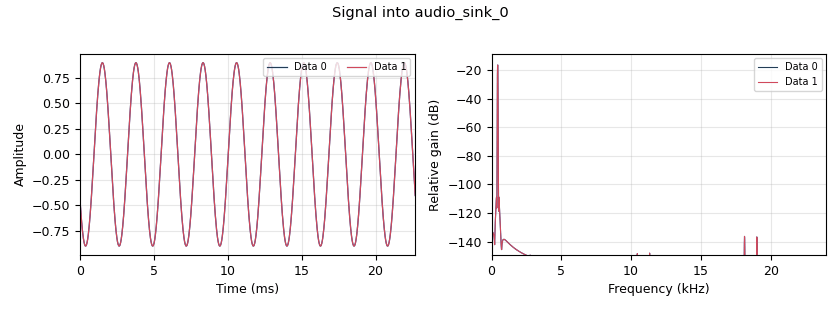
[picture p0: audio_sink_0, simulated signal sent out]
options:
  parameters:
    generate_options: no_gui
    id: audio_test_PC
    output_language: python
    title: audio_test_PC
  states: {}

blocks:
- name: samp_rate
  id: variable
  parameters:
    value: '48000'
  states: {}
- name: analog_sig_source_x_0
  id: analog_sig_source_x
  parameters:
    amp: '0.9'
    freq: '440'
    offset: '0'
    phase: '0'
    samp_rate: samp_rate
    type: float
    waveform: analog.GR_COS_WAVE
  states: {}
- name: audio_sink_0
  id: audio_sink
  parameters:
    num_inputs: '2'
    samp_rate: samp_rate
  states: {}

connections:
- [analog_sig_source_x_0, '0', audio_sink_0, '0']
- [analog_sig_source_x_0, '0', audio_sink_0, '1']

metadata:
  file_format: 1
